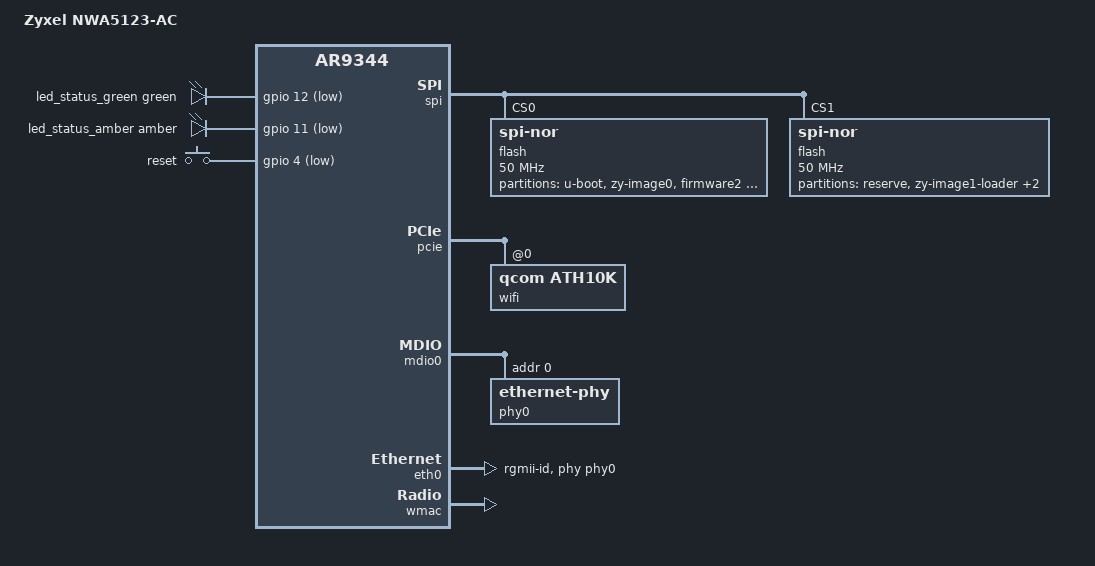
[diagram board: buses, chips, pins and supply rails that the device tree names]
// SPDX-License-Identifier: GPL-2.0-or-later OR MIT

#include "ar9344.dtsi"

#include <dt-bindings/gpio/gpio.h>
#include <dt-bindings/input/input.h>
#include <dt-bindings/leds/common.h>
#include <dt-bindings/mtd/partitions/uimage.h>

/ {
	model = "Zyxel NWA5123-AC";
	compatible = "zyxel,nwa5123-ac", "qca,ar9344";

	aliases {
		label-mac-device = &eth0;
		led-boot = &led_status_green;
		led-failsafe = &led_status_amber;
		led-running = &led_status_green;
		led-upgrade = &led_status_amber;
	};

	leds {
		compatible = "gpio-leds";

		led_status_green: status_green {
			function = LED_FUNCTION_STATUS;
			color = <LED_COLOR_ID_GREEN>;
			gpios = <&gpio 12 GPIO_ACTIVE_LOW>;
			default-state = "on";
		};

		led_status_amber: status_amber {
			function = LED_FUNCTION_STATUS;
			color = <LED_COLOR_ID_AMBER>;
			gpios = <&gpio 11 GPIO_ACTIVE_LOW>;
		};
	};

	keys {
		compatible = "gpio-keys";

		reset {
			label = "reset";
			linux,code = <KEY_RESTART>;
			gpios = <&gpio 4 GPIO_ACTIVE_LOW>;
		};
	};
};

&ref {
	clock-frequency = <40000000>;
};

&spi {
	status = "okay";

	/* CS0: boot flash */
	flash@0 {
		compatible = "jedec,spi-nor";
		reg = <0>;
		spi-max-frequency = <50000000>;

		partitions {
			compatible = "fixed-partitions";
			#address-cells = <1>;
			#size-cells = <1>;

			partition@0 {
				label = "u-boot";
				reg = <0x000000 0x030000>;
				read-only;
			};

			/*
			 * nor0:0x30000-0x150000 is the Image0 kernel slot
			 * in Zyxel's layout. Writable so our uci-defaults
			 * script can clone the OKLI stub into it (ZLD then
			 * boots our loader on bootImage=0 units too).
			 */
			partition@30000 {
				label = "zy-image0";
				reg = <0x030000 0x120000>;
			};

			/*
			 * nor0:0x150000-0xea0000 is the Image0 zldfs
			 * slot. On units Zyxel shipped with bootImage=1
			 * ex factory, ATNZ writes the OpenWrt uImage +
			 * squashfs here instead of CS1. Expose it as a
			 * uimage-fw partition so the kernel splits off a
			 * rootfs when it finds the OKLI magic; on
			 * bootImage=0 units it holds Zyxel's stock zldfs
			 * (hsqs magic) and mtdsplit silently skips it.
			 */
			partition@150000 {
				compatible = "openwrt,uimage", "denx,uimage";
				openwrt,ih-magic = <IH_MAGIC_OKLI>;
				label = "firmware2";
				reg = <0x150000 0xd50000>;
			};

			/*
			 * Zyxel-side partitions follow the stock layout so Linux
			 * can read the vendor's dualimage state (zy-conf) and the
			 * sticker MAC in myZyXEL. Writes are gated by read-only
			 * on everything except zy-conf, where the bootImage flag
			 * lives and OpenWrt may need to update it.
			 *
			 * Stock Zyxel calls these:
			 *   0x030000-0x150000  backup_ker (= inactive-slot kernel)
			 *   0x150000-0xea0000  backup_fs  (= inactive-slot rootfs)
			 *   0xea0000-0xfa0000  conf
			 *   0xfa0000-0xfb0000  myZyXEL
			 *   0xfb0000-0xfc0000  mrd
			 *   0xfc0000-0xff0000  disklog
			 *   0xff0000-0x1000000 ART
			 */
			partition@ea0000 {
				label = "zy-conf";
				reg = <0xea0000 0x100000>;
			};

			partition@fa0000 {
				label = "zy-myZyXEL";
				reg = <0xfa0000 0x010000>;
				read-only;
			};

			partition@fb0000 {
				label = "zy-mrd";
				reg = <0xfb0000 0x010000>;
				read-only;

				nvmem-layout {
					compatible = "fixed-layout";
					#address-cells = <1>;
					#size-cells = <1>;

					macaddr_mrd_fff8: macaddr@fff8 {
						compatible = "mac-base";
						reg = <0xfff8 0x6>;
						#nvmem-cell-cells = <1>;
					};
				};
			};

			partition@fc0000 {
				label = "zy-disklog";
				reg = <0xfc0000 0x030000>;
				read-only;
			};

			partition@ff0000 {
				label = "art";
				reg = <0xff0000 0x010000>;
				read-only;

				nvmem-layout {
					compatible = "fixed-layout";
					#address-cells = <1>;
					#size-cells = <1>;

					calibration_ath9k: calibration@1000 {
						reg = <0x1000 0x440>;
					};
				};
			};
		};
	};

	/* CS1: firmware flash */
	flash@1 {
		compatible = "jedec,spi-nor";
		reg = <1>;
		spi-max-frequency = <50000000>;

		partitions {
			compatible = "fixed-partitions";
			#address-cells = <1>;
			#size-cells = <1>;

			partition@0 {
				label = "reserve";
				reg = <0x000000 0x180000>;
				read-only;
			};

			/*
			 * nor1:zy-image1-loader holds the deadbeaf sub_hdr
			 * (first 512 bytes of the first erase block)
			 * followed by the OKLI loader uImage that ZLD
			 * boots. Not read-only on purpose: /etc/uci-defaults
			 * runs a one-shot script on first boot that writes
			 * a non-empty ZLD version string into sub_hdr+0x80
			 * so ATDS reports Image1 as "Success" instead of
			 * "New"; ZLD zeros that field during ATNZ because
			 * our section 1 doesn't match its TYPE_LDFS
			 * recognition heuristic. The unique label avoids a
			 * clash with the vestigial nor0:loader in old
			 * layouts. Linux never mounts this partition.
			 */
			partition@180000 {
				label = "zy-image1-loader";
				reg = <0x180000 0x120000>;
			};

			/*
			 * nor1:zldfs is the OKLI uImage followed by the
			 * squashfs rootfs. The uimage parser finds the
			 * OKLI magic at offset 0 and splits it into
			 * kernel / rootfs subpartitions.
			 */
			partition@2a0000 {
				compatible = "openwrt,uimage", "denx,uimage";
				openwrt,ih-magic = <IH_MAGIC_OKLI>;
				label = "firmware";
				reg = <0x2a0000 0xd50000>;
			};

			partition@ff0000 {
				label = "myZyXEL";
				reg = <0xff0000 0x010000>;
				read-only;
			};
		};
	};
};

&pcie {
	status = "okay";

	wifi@0,0 {
		compatible = "qcom,ath10k";
		reg = <0x0000 0 0 0 0>;
		nvmem-cells = <&macaddr_mrd_fff8 2>;
		nvmem-cell-names = "mac-address";
	};
};

&mdio0 {
	status = "okay";

	phy0: ethernet-phy@0 {
		reg = <0>;
	};
};

&eth0 {
	status = "okay";

	pll-data = <0x06000000 0x00000101 0x00001313>;

	nvmem-cells = <&macaddr_mrd_fff8 0>;
	nvmem-cell-names = "mac-address";

	phy-mode = "rgmii-id";
	phy-handle = <&phy0>;

	gmac-config {
		device = <&gmac>;
		rgmii-gmac0 = <1>;
		rxd-delay = <1>;
		rxdv-delay = <1>;
	};
};

&wmac {
	status = "okay";

	ieee80211-freq-limit = <2402000 2482000>;

	nvmem-cells = <&macaddr_mrd_fff8 1>, <&calibration_ath9k>;
	nvmem-cell-names = "mac-address", "calibration";
};
